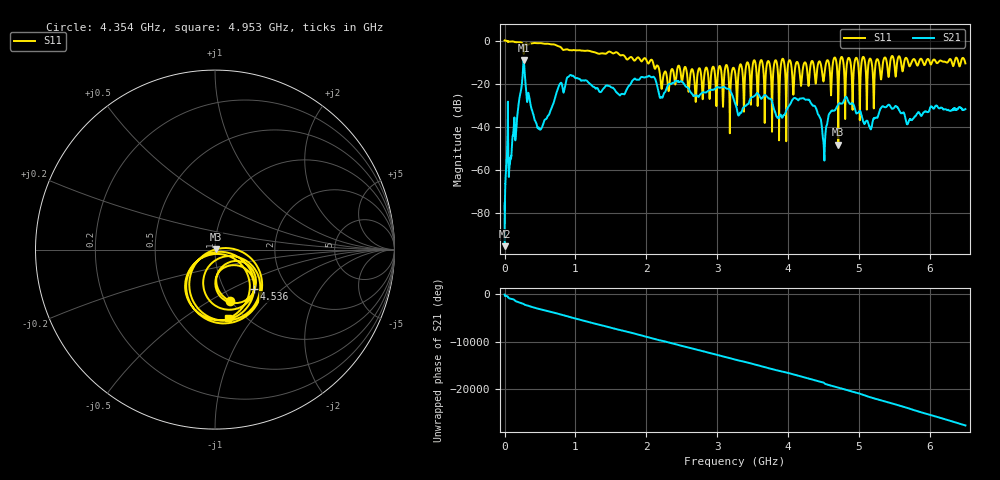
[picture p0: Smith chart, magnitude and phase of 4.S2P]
!Keysight Technologies,E5063A,MY54503115,A.05.08
!Date: Wed Mar 06 13:37:32 2024
!Data & Calibration Information:
!Freq	S11:NONE(--)	S21:NONE(--)	S12:NONE(--)	S22:NONE(--)
# Hz S dB R 50
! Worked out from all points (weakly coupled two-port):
!   10001 points, 100 kHz to 6.5 GHz, reference 50 ohm
!   highest |S21| = -9.23 dB at 269.8 MHz (marker M1); lowest = -95.5 dB at 100 kHz (marker M2)
!   lowest |S11| = -48.4 dB at 4.707 GHz (marker M3), VSWR 1.01, Z = 50.4 + j0.127 ohm
!   |S11| at or under -10 dB: 2.092 GHz to 3.508 GHz (1.416 GHz wide, 50.6 % of centre); 4.131 GHz to 4.326 GHz (195.4 MHz wide, 4.62 % of centre); 4.451 GHz to 4.538 GHz (87.65 MHz wide, 1.95 % of centre) (the widest 3 of 31)
!   S12 and S22 are empty: the file has one direction only
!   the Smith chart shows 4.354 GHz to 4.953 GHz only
!   S11 on the Smith chart (normalised r, x): 4.354 GHz: 0.99, -0.62; 4.536 GHz: 1.37, -0.66; 4.953 GHz: 0.85, -0.76
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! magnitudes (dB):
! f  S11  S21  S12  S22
! 100 kHz  0.0  -95.5  -  -
! 39.75 MHz  -0.2  -46.0  -  -
! 86.55 MHz  -0.5  -54.4  -  -
! 269.8 MHz  -6.2  -9.2  -  -
! 492.8 MHz  -1.2  -41.2  -  -
! 777.5 MHz  -2.8  -20.2  -  -
! 1.084 GHz  -4.7  -18.6  -  -
! 2.167 GHz  -12.1  -23.2  -  -
! 3.091 GHz  -20.5  -21.5  -  -
! 3.25 GHz  -14.6  -29.0  -  -
! 3.619 GHz  -9.1  -27.0  -  -
! 3.684 GHz  -15.7  -25.5  -  -
! 3.858 GHz  -16.1  -35.6  -  -
! 4.334 GHz  -9.5  -29.7  -  -
! 4.354 GHz  -10.5  -30.4  -  -
! 4.536 GHz  -10.2  -40.0  -  -
! 4.707 GHz  -48.4  -29.6  -  -
! 4.953 GHz  -8.2  -33.3  -  -
! 5.159 GHz  -8.4  -40.8  -  -
! 5.417 GHz  -16.9  -29.8  -  -
! 5.689 GHz  -9.7  -38.5  -  -
! 6.5 GHz  -10.6  -31.8  -  -
